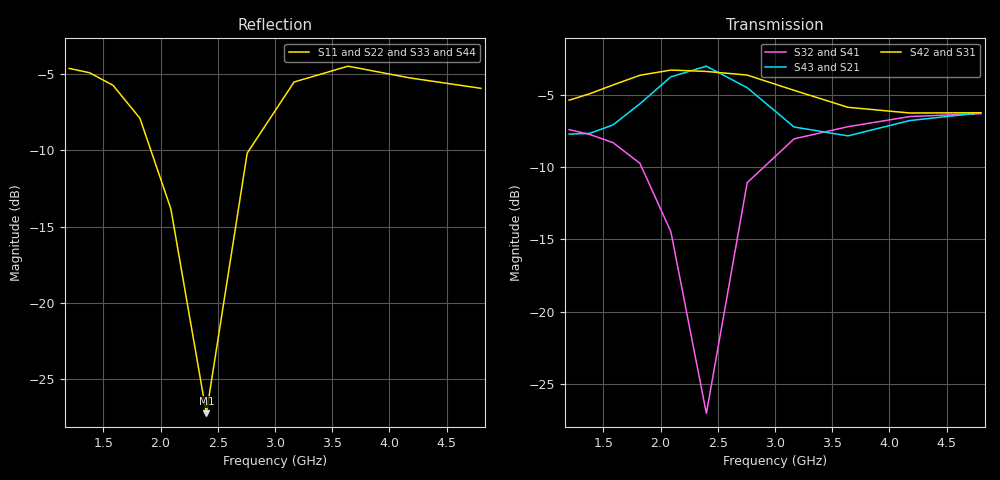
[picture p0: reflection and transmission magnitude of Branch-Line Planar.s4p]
! Generated by circuitRF - EM: Full-wave planar
! circuitRF-EM setup: Branch-Line Planar
! circuitRF-EM layout: Branch-Line/layout/Branch-Line.clay
! circuitRF-EM written: 2026-11-15 22:12:35Z
! circuitRF-EM stamp: 20261115T221235Z-3f6bbd7a
! circuitRF-EM geometry: afc2b4ae1dce5060
! circuitRF-EM mesh settings: 160092dd3dfb76a4
! circuitRF-EM ports: 6f61ed843c5446f4
! circuitRF-EM mesh unknowns: 4110
! circuitRF-EM model: grounded-edge-port-2026-10-14
! Port[1] = 1
! Port[2] = 2
! Port[3] = 3
! Port[4] = 4
! circuitRF-EM port 1: '1' at (0, 10137.193 um), edge, de-embedded, 50 Ohm
! circuitRF-EM port 2: '2' at (32280.936, 10137.193 um), edge, de-embedded, 50 Ohm
! circuitRF-EM port 3: '3' at (32280.936, -10137.193 um), edge, de-embedded, 50 Ohm
! circuitRF-EM port 4: '4' at (0, -10137.193 um), edge, de-embedded, 50 Ohm
! circuitRF-EM: port N of this file is the label named on the 'port N' line above. A circuit that composes this result binds its nets in that order; two ports of a reciprocal part swapped gives a plausible curve of a different structure.
! Port 1 = P01  1  net=n5  ref=ground  calibrated
! Port 2 = P02  2  net=n6  ref=ground  calibrated
! Port 3 = P03  3  net=n7  ref=ground  calibrated
! Port 4 = P04  4  net=n8  ref=ground  calibrated
! DC: none, the lowest row is 1.2 GHz; a circuit's DC solve through this file takes that row as DC
! circuitRF-EM: re-running the EM setup rewrites this file. If circuitRF reports it as stale, the layout's cross-section changed after this file was written.
# GHz S RI R 50
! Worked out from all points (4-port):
!   11 points, 1.2 GHz to 4.8 GHz, reference 50 ohm
!   strongest paths, dB at 1.2 GHz, 1.583 GHz, 2.4 GHz, 3.638 GHz, 4.8 GHz:
!     S42: -5.3, -4.3, -3.3, -5.8, -6.2
!     S31: -5.3, -4.3, -3.3, -5.8, -6.2
!     S43: -7.7, -7.1, -3.0, -7.8, -6.2
!     S21: -7.7, -7.1, -3.0, -7.8, -6.2
!     S32: -7.4, -8.3, -27.1, -7.2, -6.3
!     S41: -7.4, -8.3, -27.1, -7.2, -6.3
!   lowest |S11| = -27.2 dB at 2.4 GHz (marker M1), VSWR 1.09, Z = 45.8 + j0.0556 ohm
!   |S11| at or under -10 dB: 1.915 GHz to 2.773 GHz (858.8 MHz wide, 36.6 % of centre)
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1.2  -0.3536 0.4679  0.1129 -0.3968  -0.2083 -0.499  -0.0648 -0.4224
     0.1129 -0.3968  -0.3536 0.4679  -0.0648 -0.4224  -0.2083 -0.499
     -0.2083 -0.499  -0.0648 -0.4224  -0.3536 0.4679  0.1129 -0.3968
     -0.0648 -0.4224  -0.2083 -0.499  0.1129 -0.3968  -0.3536 0.4679
1.81886  0.0997 0.3902  -0.0882 -0.5179  -0.6594 -0.0236  -0.3115 -0.0984
         -0.0882 -0.5179  0.0997 0.3902  -0.3115 -0.0984  -0.6594 -0.0236
         -0.6594 -0.0236  -0.3115 -0.0984  0.0997 0.3902  -0.0882 -0.5179
         -0.3115 -0.0984  -0.6594 -0.0236  -0.0882 -0.5179  0.0997 0.3902
2.4  -0.0435 0.000605  -0.658 -0.2654  -0.2545 0.6308  0.0217 -0.0387
     -0.658 -0.2654  -0.0435 0.000605  0.0217 -0.0387  -0.2545 0.6308
     -0.2545 0.6308  0.0217 -0.0387  -0.0435 0.000605  -0.658 -0.2654
     0.0217 -0.0387  -0.2545 0.6308  -0.658 -0.2654  -0.0435 0.000605
2.756876  -0.3026 0.065  -0.574 0.1657  0.2287 0.6199  -0.1348 -0.2452
          -0.574 0.1657  -0.3026 0.065  -0.1348 -0.2452  0.2287 0.6199
          0.2287 0.6199  -0.1348 -0.2452  -0.3026 0.065  -0.574 0.1657
          -0.1348 -0.2452  0.2287 0.6199  -0.574 0.1657  -0.3026 0.065
3.166819  -0.3541 0.3934  -0.3284 0.2875  0.5381 0.2294  -0.3894 -0.0775
          -0.3284 0.2875  -0.3541 0.3934  -0.3894 -0.0775  0.5381 0.2294
          0.5381 0.2294  -0.3894 -0.0775  -0.3541 0.3934  -0.3284 0.2875
          -0.3894 -0.0775  0.5381 0.2294  -0.3284 0.2875  -0.3541 0.3934
4.178643  0.1781 0.5161  -0.0118 0.4594  0.1436 -0.4665  -0.1124 0.461
          -0.0118 0.4594  0.1781 0.5161  -0.1124 0.461  0.1436 -0.4665
          0.1436 -0.4665  -0.1124 0.461  0.1781 0.5161  -0.0118 0.4594
          -0.1124 0.461  0.1436 -0.4665  -0.0118 0.4594  0.1781 0.5161
4.8  0.2767 0.422  0.3357 0.3554  -0.3395 -0.352  0.3076 0.3757
     0.3357 0.3554  0.2767 0.422  0.3076 0.3757  -0.3395 -0.352
     -0.3395 -0.352  0.3076 0.3757  0.2767 0.422  0.3357 0.3554
     0.3076 0.3757  -0.3395 -0.352  0.3357 0.3554  0.2767 0.422
